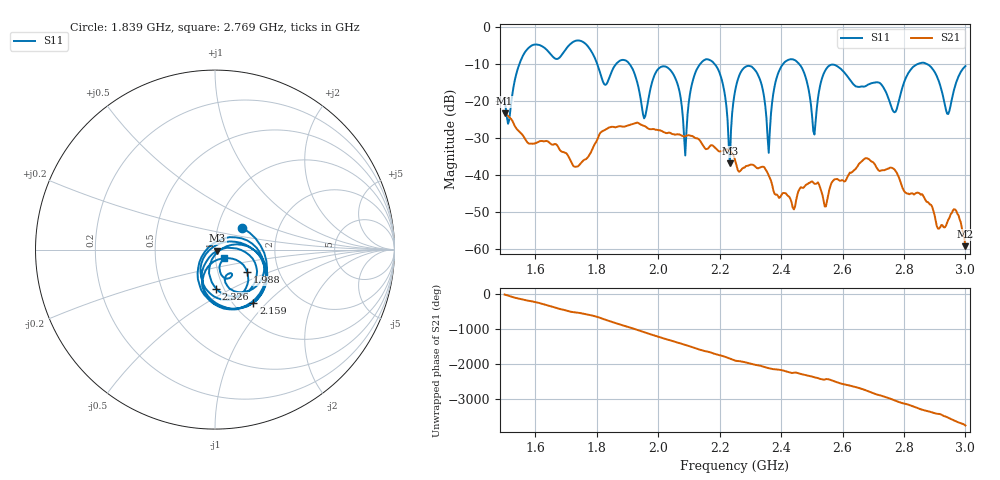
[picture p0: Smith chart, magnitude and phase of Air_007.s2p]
# HZ S RI R 50
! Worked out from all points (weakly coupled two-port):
!   404 points, 1.5 GHz to 3 GHz, reference 50 ohm
!   highest |S21| = -23.36 dB at 1.5 GHz (marker M1); lowest = -59.3 dB at 3 GHz (marker M2)
!   lowest |S11| = -37.0 dB at 2.233 GHz (marker M3), VSWR 1.03, Z = 51.3 - j0.673 ohm
!   |S11| at or under -10 dB: 1.906 GHz to 2.137 GHz (231 MHz wide, 11.4 % of centre); 2.183 GHz to 2.407 GHz (224 MHz wide, 9.76 % of centre); 2.458 GHz to 2.847 GHz (388.3 MHz wide, 14.6 % of centre) (the widest 3 of 6)
!   S12 and S22 are empty: the file has one direction only
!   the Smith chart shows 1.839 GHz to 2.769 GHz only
!   S11 on the Smith chart (normalised r, x): 1.839 GHz: 1.31, +0.33; 1.988 GHz: 1.38, -0.37; 2.159 GHz: 1.23, -0.84; 2.326 GHz: 0.92, -0.42; 2.769 GHz: 1.10, -0.11
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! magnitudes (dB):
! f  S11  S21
! 1.5 GHz  -19.9  -23.4
! 1.582 GHz  -5.4  -31.6
! 1.753 GHz  -4.0  -36.4
! 1.839 GHz  -14.2  -27.3
! 1.902 GHz  -9.6  -26.7
! 1.954 GHz  -24.8  -26.8
! 1.988 GHz  -13.1  -27.7
! 2.002 GHz  -11.2  -28.0
! 2.088 GHz  -34.8  -29.6
! 2.159 GHz  -8.8  -33.0
! 2.233 GHz  -37.0  -33.6
! 2.252 GHz  -16.7  -36.6
! 2.326 GHz  -13.3  -38.3
! 2.36 GHz  -34.1  -40.2
! 2.427 GHz  -8.8  -46.0
! 2.501 GHz  -24.4  -41.8
! 2.565 GHz  -10.2  -42.2
! 2.751 GHz  -19.6  -38.3
! 2.769 GHz  -23.1  -38.6
! 2.859 GHz  -9.7  -45.3
! 2.944 GHz  -23.6  -52.2
! 3 GHz  -10.6  -59.3
